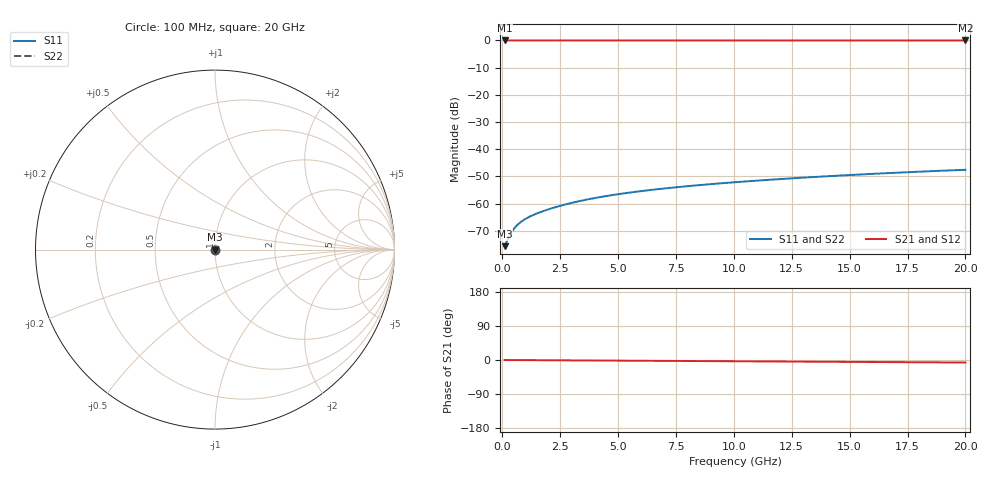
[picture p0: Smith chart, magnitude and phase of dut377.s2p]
! Touchstone file exported from HFSS 2026.1.0
!  File:  C:/ffzhzh/LocalFiles/Ansys_Project_Files/temp_train_TSV_377_1783019696_53980.aedt
!  Generated:  03:16:49 AM Jul  3, 2026
!  Design:  TSV
!  Project:  temp_train_TSV_377_1783019696_53980
! Variables:
!  h_bsmrdl = 2um
!  h_ox = 20um
!  h_rdl = 5um
!  h_sub = 66.34um
!  h_tmrdl = 5um
!  h_tsv = 66.34um
!  h_via = 3um
!  l_bsmrdl = 300um
!  l_sub = 416.26um
!  l_tmrdl = 200um
!  m_sub = 200um
!  pitch = 34.14um
!  r_tsv = 8.13um
!  s_tmrdl = 10um
!  w_bsmrdl = 18um
!  w_sub = 500um
!  w_tmrdl = 12um
!  x_tsv_center1 = 206um
!  x_tsv_center2 = 524um
!  x_tsv_center3 = 736um
!  x_tsv_center4 = 1054um
!  x_tsv_center5 = 1266um
!  x_tsv_center6 = 1584um
# GHz S MA R 50.000000
! Terminal data exported
! Port[1] = TSV1_1_T1
! Port[2] = TSV1_1_T2
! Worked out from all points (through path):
!   200 points, 100 MHz to 20 GHz, reference 50 ohm
!   highest |S21| = 0.00 dB at 100 MHz (marker M1); lowest = 0.0 dB at 20 GHz (marker M2)
!   lowest |S11| = -75.6 dB at 100 MHz (marker M3), VSWR 1.00, Z = 50 + j0.00607 ohm
!   |S11| at or under -10 dB: start of sweep to end of sweep
!   |S22| runs from -75.6 to -47.5 dB; largest |S21 - S12| = 2e-15
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0.1  0.0001655 21.5  0.9998 -0.0  0.9998 -0.0  0.0001655 21.5
! Gamma 0 0 0 0
! Port Impedance 50 0 50 0
0.3  0.0002508 43.2  0.9998 -0.1  0.9998 -0.1  0.0002508 43.2
0.4  0.000299 47.1  0.9998 -0.1  0.9998 -0.1  0.000299 47.1
0.5  0.0003447 49.1  0.9998 -0.2  0.9998 -0.2  0.0003447 49.1
0.6  0.0003869 50.2  0.9998 -0.2  0.9998 -0.2  0.0003869 50.2
0.7  0.0004255 50.9  0.9997 -0.2  0.9997 -0.2  0.0004255 50.9
0.8  0.000461 51.5  0.9997 -0.3  0.9997 -0.3  0.000461 51.5
1  0.0005248 52.3  0.9997 -0.3  0.9997 -0.3  0.0005249 52.3
1.2  0.0005823 53.2  0.9997 -0.4  0.9997 -0.4  0.0005823 53.2
1.4  0.0006362 54.2  0.9996 -0.5  0.9996 -0.5  0.0006362 54.2
2  0.0007894 56.8  0.9996 -0.7  0.9996 -0.7  0.0007894 56.8
2.7  0.0009626 59.1  0.9995 -0.9  0.9995 -0.9  0.0009626 59.1
3.5  0.001155 60.8  0.9995 -1.2  0.9995 -1.2  0.001155 60.8
4.2  0.001316 61.7  0.9994 -1.4  0.9994 -1.4  0.001316 61.7
5  0.001493 62.4  0.9993 -1.7  0.9993 -1.7  0.001493 62.4
5.9  0.001683 63.0  0.9993 -2.0  0.9993 -2.0  0.001683 63.0
6.8  0.001864 63.4  0.9992 -2.3  0.9992 -2.3  0.001864 63.4
8.3  0.002155 64.0  0.9991 -2.8  0.9991 -2.8  0.002155 64.0
10.1  0.00249 64.6  0.9991 -3.4  0.9991 -3.4  0.00249 64.6
13.4  0.003083 65.2  0.9989 -4.4  0.9989 -4.4  0.003083 65.2
16.7  0.003654 65.3  0.9988 -5.5  0.9988 -5.5  0.003654 65.3
20  0.004199 65.0  0.9987 -6.6  0.9987 -6.6  0.004199 65.0
